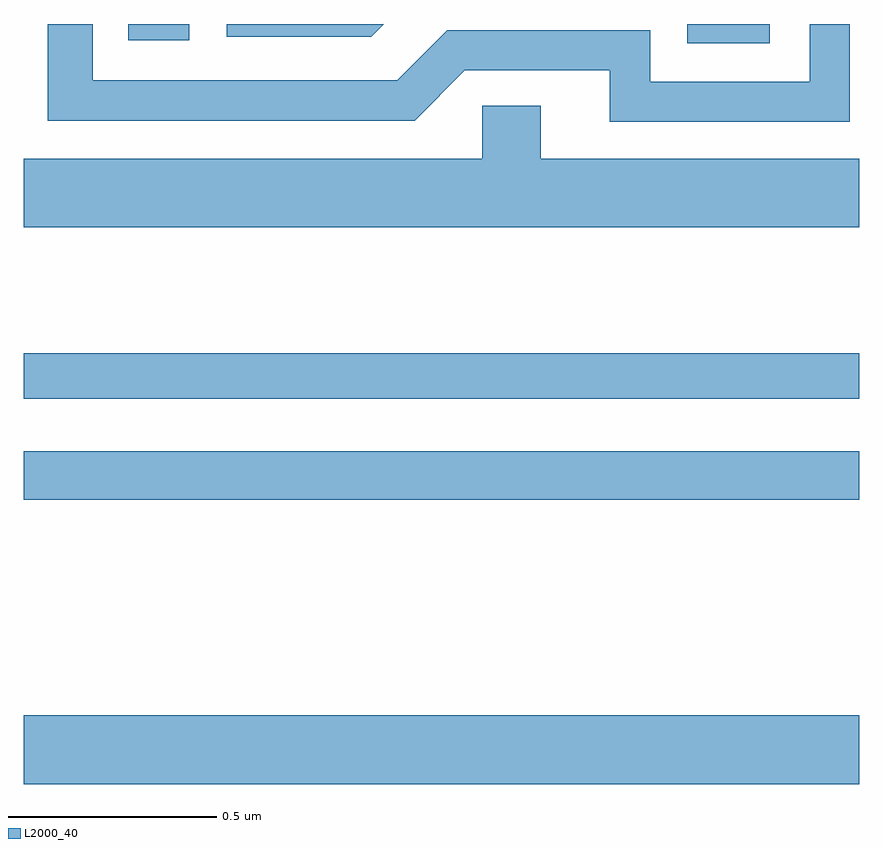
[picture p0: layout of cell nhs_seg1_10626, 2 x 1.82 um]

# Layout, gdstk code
import gdstk
lib = gdstk.Library(unit=1e-6, precision=1e-09)
def R(c, l, rs):  # rectangles x0, y0, x1, y1
    for r in rs: c.add(gdstk.rectangle(r[:2], r[2:], *l))
def P(c, l, *ps):  # polygons
    for p in ps: c.add(gdstk.Polygon(p, *l))
L2000_40 = (2000, 40)

nhs_seg1_10626 = lib.new_cell('nhs_seg1_10626')
R(nhs_seg1_10626, L2000_40, [(243,570.38,245,570.544), (243,571.06,245,571.176), (243,571.302,245,571.411), (244.588,572.153,244.786,572.199), (243.25,572.16,243.396,572.199)])
P(nhs_seg1_10626, L2000_40, [(244.977,572.199),(244.881,572.199),(244.881,572.061),(244.5,572.061),(244.5,572.184),(244.014,572.184),(243.894,572.064),(243.165,572.064),(243.165,572.199),(243.057,572.199),(243.057,571.968),(243.936,571.968),(244.056,572.088),(244.403,572.088),(244.403,571.965),(244.977,571.965)],
  [(243.862,572.199),(243.486,572.199),(243.486,572.169),(243.832,572.169)],
  [(245,571.876),(244.237,571.876),(244.237,572.003),(244.098,572.003),(244.098,571.876),(243,571.876),(243,571.712),(245,571.712)])

lib.write_gds('nhs_seg1_10626.gds')
